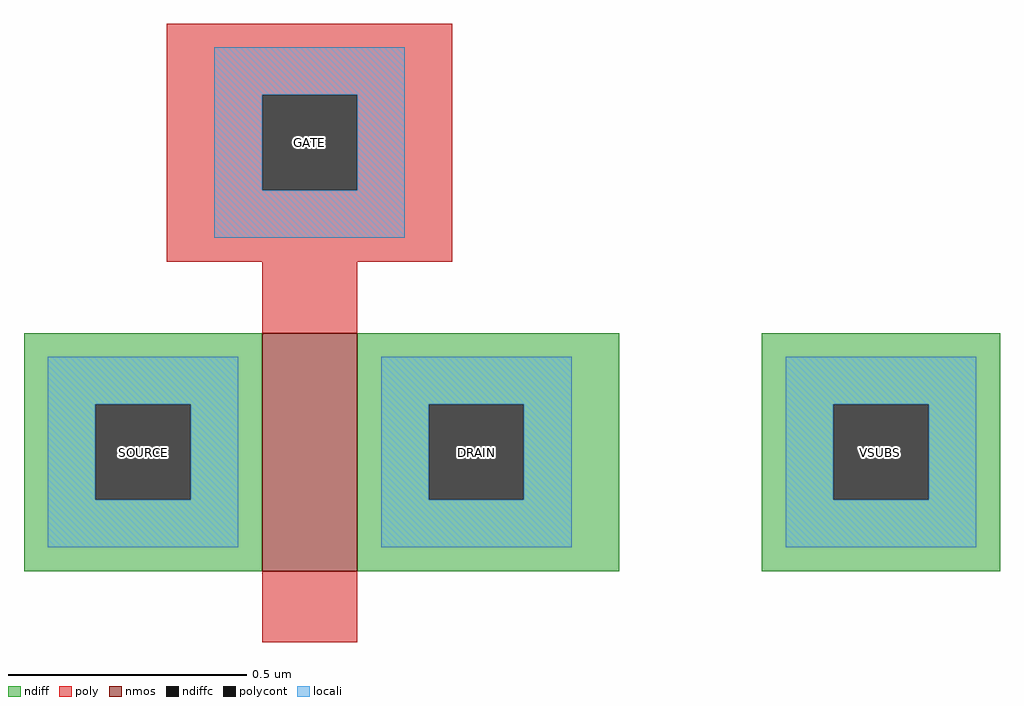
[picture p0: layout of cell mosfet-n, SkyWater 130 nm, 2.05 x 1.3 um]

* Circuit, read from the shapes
.subckt mosfet-n SOURCE DRAIN GATE VSUBS
XM1 DRAIN GATE SOURCE VSUBS sky130_fd_pr__nfet_01v8 w=0.5 l=0.2
.ends

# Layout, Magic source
magic
tech sky130A
<< nmos >>
rect 25 -5 45 45
<< ndiff >>
rect -25 30 25 45
rect -25 10 -10 30
rect 10 10 25 30
rect -25 -5 25 10
rect 45 30 100 45
rect 45 10 60 30
rect 80 10 100 30
rect 45 -5 100 10
rect 130 30 180 45
rect 130 10 145 30
rect 165 10 180 30
rect 130 -5 180 10
<< ndiffc >>
rect -10 10 10 30
rect 60 10 80 30
rect 145 10 165 30
<< poly >>
rect 5 95 65 110
rect 5 75 25 95
rect 45 75 65 95
rect 5 60 65 75
rect 25 45 45 60
rect 25 -20 45 -5
<< polycont >>
rect 25 75 45 95
<< locali >>
rect 15 95 55 105
rect 15 75 25 95
rect 45 75 55 95
rect 15 65 55 75
rect -20 30 20 40
rect -20 10 -10 30
rect 10 10 20 30
rect -20 0 20 10
rect 50 30 90 40
rect 50 10 60 30
rect 80 10 90 30
rect 50 0 90 10
rect 135 30 175 40
rect 135 10 145 30
rect 165 10 175 30
rect 135 0 175 10
<< labels >>
rlabel polycont 25 75 45 95 1 GATE
port 3 n
rlabel ndiffc -10 10 10 30 1 SOURCE
port 1 n
rlabel ndiffc 60 10 80 30 1 DRAIN
port 2 n
rlabel ndiffc 145 10 165 30 1 VSUBS
port 4 n
<< end >>
